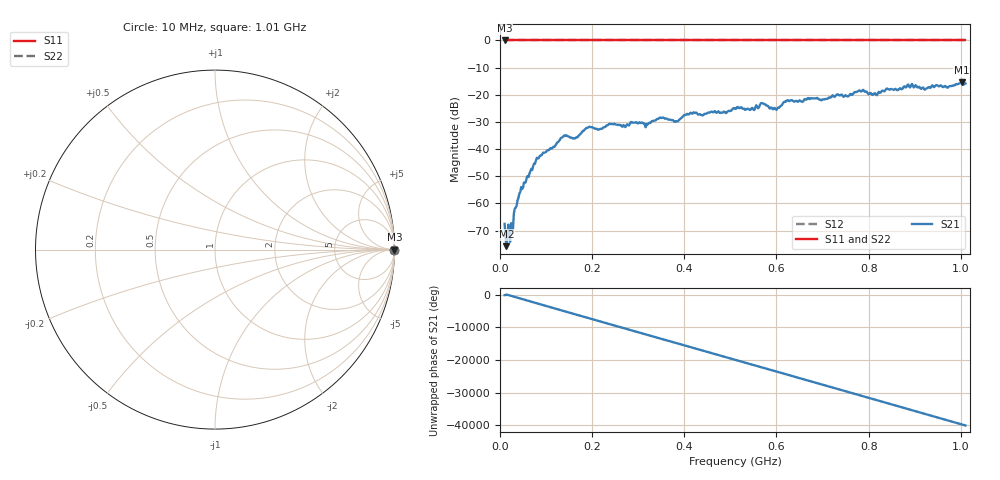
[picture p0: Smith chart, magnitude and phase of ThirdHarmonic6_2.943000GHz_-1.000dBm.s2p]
! 8/17/2025 8:15:18 AM
! C:\ANRITSUVNA\TEMP\TEMP.S2P
! CHANNEL.1
! TR.MEASUREMENT
! RAW.DATA
! RF.CORRECTION.OFF
! AVERAGING.OFF
! IF.BANDWIDTH: 5KHZ
! SWEEPTYPE:  FREQ.SWEEP(Linear)
! Reference Plane Port Info
! PORT:  PORT1  PORT2
! DISTANCE:  0  m  0  m
! TIME:  0  s  0  s
! PHASE.OFFSET:  0  deg.  0  deg.
! LOSS:  0  dB  0  dB
! REF.LOSS:  0  dB  0  dB
! REF.FREQ:  0  Hz  0  Hz
! Power Info
! POWER:  -20  dBm  -20  dBm
! EFF.POWER:  -20  dBm  -20  dBm
! SOURCE.ATTEN:  0  dB  0  dB
! TEST.ATTEN:  0  dB  0  dB
# GHZ S RI R 50.0
! FREQ.GHZ  S11RE  S11IM  S21RE  S21IM  S12RE  S12IM  S22RE  S22IM
!; PortSelection: Port_12
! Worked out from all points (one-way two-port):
!   501 points, 10 MHz to 1.01 GHz, reference 50 ohm
!   highest |S21| = -15.36 dB at 1.002 GHz (marker M1); lowest = -75.7 dB at 14 MHz (marker M2)
!   lowest |S11| = 0.0 dB at 10 MHz (marker M3)
!   |S11| at or under -10 dB: nowhere
!   |S22| runs from 0.0 to 0.0 dB; largest |S21 - S12| = 1.2
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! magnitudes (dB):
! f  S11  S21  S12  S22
! 10 MHz  0.0  -67.5  0.0  0.0
! 14 MHz  0.0  -75.7  0.0  0.0
! 24 MHz  0.0  -67.2  0.0  0.0
! 44 MHz  0.0  -55.8  0.0  0.0
! 82 MHz  0.0  -43.4  0.0  0.0
! 136 MHz  0.0  -35.6  0.0  0.0
! 162 MHz  0.0  -36.1  0.0  0.0
! 178 MHz  0.0  -33.8  0.0  0.0
! 240 MHz  0.0  -30.8  0.0  0.0
! 318 MHz  0.0  -30.7  0.0  0.0
! 344 MHz  0.0  -28.8  0.0  0.0
! 382 MHz  0.0  -29.7  0.0  0.0
! 416 MHz  0.0  -26.9  0.0  0.0
! 510 MHz  0.0  -25.2  0.0  0.0
! 548 MHz  0.0  -24.8  0.0  0.0
! 570 MHz  0.0  -23.1  0.0  0.0
! 596 MHz  0.0  -24.8  0.0  0.0
! 622 MHz  0.0  -22.2  0.0  0.0
! 678 MHz  0.0  -21.3  0.0  0.0
! 844 MHz  0.0  -18.1  0.0  0.0
! 1.002 GHz  0.0  -15.4  0.0  0.0
! 1.01 GHz  0.0  -15.8  0.0  0.0
